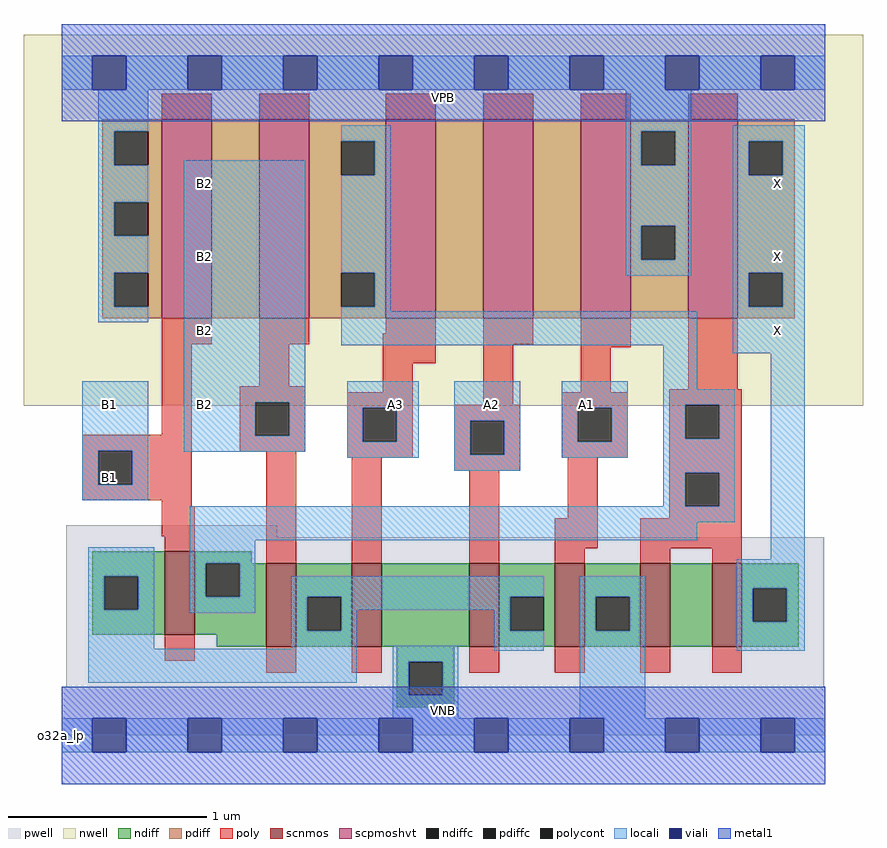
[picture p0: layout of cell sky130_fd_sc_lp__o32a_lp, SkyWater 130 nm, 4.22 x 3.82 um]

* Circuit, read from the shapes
.subckt sky130_fd_sc_lp__o32a_lp A1 A2 A3 B1 B2 VGND VNB VPB VPWR X
XM1 n1 B1 n2 VNB sky130_fd_pr__nfet_01v8 w=0.42 l=0.15
XM2 n2 B2 n1 VNB sky130_fd_pr__nfet_01v8 w=0.42 l=0.15
XM3 VGND A3 n2 VNB sky130_fd_pr__nfet_01v8 w=0.42 l=0.15
XM4 n2 A2 VGND VNB sky130_fd_pr__nfet_01v8 w=0.42 l=0.15
XM5 VGND A1 n2 VNB sky130_fd_pr__nfet_01v8 w=0.42 l=0.15
XM6 n3 n1 VGND VNB sky130_fd_pr__nfet_01v8 w=0.42 l=0.15
XM7 X n1 n3 VNB sky130_fd_pr__nfet_01v8 w=0.42 l=0.15
XM8 n4 B1 VPWR VPB sky130_fd_pr__pfet_01v8_hvt w=1 l=0.25
XM9 n1 B2 n4 VPB sky130_fd_pr__pfet_01v8_hvt w=1 l=0.25
XM10 n5 A3 n1 VPB sky130_fd_pr__pfet_01v8_hvt w=1 l=0.25
XM11 n6 A2 n5 VPB sky130_fd_pr__pfet_01v8_hvt w=1 l=0.25
XM12 VPWR A1 n6 VPB sky130_fd_pr__pfet_01v8_hvt w=1 l=0.25
XM13 X n1 VPWR VPB sky130_fd_pr__pfet_01v8_hvt w=1 l=0.25
.ends

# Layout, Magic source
magic
tech sky130A
magscale 1 2
<< nwell >>
rect -38 331 806 704
<< pwell >>
rect 5 199 217 211
rect 5 49 767 199
rect 0 0 768 49
<< scnmos >>
rect 104 101 134 185
rect 206 89 236 173
rect 292 89 322 173
rect 410 89 440 173
rect 496 89 526 173
rect 582 89 612 173
rect 654 89 684 173
<< scpmoshvt >>
rect 101 419 151 619
rect 199 419 249 619
rect 326 419 376 619
rect 424 419 474 619
rect 522 419 572 619
rect 630 419 680 619
<< ndiff >>
rect 31 160 104 185
rect 31 126 43 160
rect 77 126 104 160
rect 31 101 104 126
rect 134 173 191 185
rect 134 139 145 173
rect 179 139 206 173
rect 134 101 206 139
rect 156 89 206 101
rect 236 139 292 173
rect 236 105 247 139
rect 281 105 292 139
rect 236 89 292 105
rect 322 89 410 173
rect 440 139 496 173
rect 440 105 451 139
rect 485 105 496 139
rect 440 89 496 105
rect 526 139 582 173
rect 526 105 537 139
rect 571 105 582 139
rect 526 89 582 105
rect 612 89 654 173
rect 684 148 741 173
rect 684 114 695 148
rect 729 114 741 148
rect 684 89 741 114
rect 337 74 395 89
rect 337 40 349 74
rect 383 40 395 74
rect 337 28 395 40
<< pdiff >>
rect 41 607 101 619
rect 41 573 53 607
rect 87 573 101 607
rect 41 536 101 573
rect 41 502 53 536
rect 87 502 101 536
rect 41 465 101 502
rect 41 431 53 465
rect 87 431 101 465
rect 41 419 101 431
rect 151 419 199 619
rect 249 597 326 619
rect 249 563 281 597
rect 315 563 326 597
rect 249 465 326 563
rect 249 431 281 465
rect 315 431 326 465
rect 249 419 326 431
rect 376 419 424 619
rect 474 419 522 619
rect 572 607 630 619
rect 572 573 583 607
rect 617 573 630 607
rect 572 512 630 573
rect 572 478 583 512
rect 617 478 630 512
rect 572 419 630 478
rect 680 597 737 619
rect 680 563 691 597
rect 725 563 737 597
rect 680 465 737 563
rect 680 431 691 465
rect 725 431 737 465
rect 680 419 737 431
<< ndiffc >>
rect 43 126 77 160
rect 145 139 179 173
rect 247 105 281 139
rect 451 105 485 139
rect 537 105 571 139
rect 695 114 729 148
rect 349 40 383 74
<< pdiffc >>
rect 53 573 87 607
rect 53 502 87 536
rect 53 431 87 465
rect 281 563 315 597
rect 281 431 315 465
rect 583 573 617 607
rect 583 478 617 512
rect 691 563 725 597
rect 691 431 725 465
<< poly >>
rect 101 619 151 645
rect 199 619 249 645
rect 326 619 376 645
rect 424 619 474 645
rect 522 619 572 645
rect 630 619 680 645
rect 101 393 151 419
rect 199 393 249 419
rect 326 404 376 419
rect 101 302 131 393
rect 199 351 229 393
rect 323 374 376 404
rect 424 393 474 419
rect 21 286 131 302
rect 21 252 37 286
rect 71 252 131 286
rect 179 335 245 351
rect 323 345 353 374
rect 179 301 195 335
rect 229 301 245 335
rect 179 285 245 301
rect 287 329 353 345
rect 424 332 454 393
rect 522 390 572 419
rect 522 345 552 390
rect 630 348 680 419
rect 287 295 303 329
rect 337 295 353 329
rect 21 236 131 252
rect 101 230 131 236
rect 101 200 134 230
rect 104 185 134 200
rect 206 173 236 285
rect 287 279 353 295
rect 395 316 461 332
rect 395 282 411 316
rect 445 282 461 316
rect 292 173 322 279
rect 395 266 461 282
rect 503 329 569 345
rect 503 295 519 329
rect 553 295 569 329
rect 503 279 569 295
rect 611 332 684 348
rect 611 298 627 332
rect 661 298 684 332
rect 410 173 440 266
rect 509 218 539 279
rect 611 264 684 298
rect 611 230 627 264
rect 661 230 684 264
rect 611 218 684 230
rect 496 188 539 218
rect 582 188 684 218
rect 496 173 526 188
rect 582 173 612 188
rect 654 173 684 188
rect 104 75 134 101
rect 206 63 236 89
rect 292 63 322 89
rect 410 63 440 89
rect 496 63 526 89
rect 582 63 612 89
rect 654 63 684 89
<< polycont >>
rect 37 252 71 286
rect 195 301 229 335
rect 303 295 337 329
rect 411 282 445 316
rect 519 295 553 329
rect 627 298 661 332
rect 627 230 661 264
<< locali >>
rect 0 649 31 683
rect 65 649 127 683
rect 161 649 223 683
rect 257 649 319 683
rect 353 649 415 683
rect 449 649 511 683
rect 545 649 607 683
rect 641 649 703 683
rect 737 649 768 683
rect 37 607 87 649
rect 37 573 53 607
rect 281 597 331 613
rect 37 536 87 573
rect 37 502 53 536
rect 37 465 87 502
rect 37 431 53 465
rect 37 415 87 431
rect 21 286 87 356
rect 21 252 37 286
rect 71 252 87 286
rect 123 335 245 578
rect 315 563 331 597
rect 281 465 331 563
rect 315 431 331 465
rect 567 607 633 649
rect 567 573 583 607
rect 617 573 633 607
rect 567 512 633 573
rect 567 478 583 512
rect 617 478 633 512
rect 567 462 633 478
rect 675 597 747 613
rect 675 563 691 597
rect 725 563 747 597
rect 675 465 747 563
rect 281 426 331 431
rect 675 431 691 465
rect 725 431 747 465
rect 281 392 639 426
rect 123 301 195 335
rect 229 301 245 335
rect 123 285 245 301
rect 287 329 359 356
rect 287 295 303 329
rect 337 295 359 329
rect 287 279 359 295
rect 395 316 461 356
rect 395 282 411 316
rect 445 282 461 316
rect 395 266 461 282
rect 503 329 569 356
rect 503 295 519 329
rect 553 295 569 329
rect 503 279 569 295
rect 605 348 639 392
rect 675 384 747 431
rect 605 332 677 348
rect 605 298 627 332
rect 661 298 677 332
rect 21 236 87 252
rect 605 264 677 298
rect 605 230 627 264
rect 661 230 677 264
rect 129 214 677 230
rect 129 196 639 214
rect 27 160 93 189
rect 27 126 43 160
rect 77 126 93 160
rect 27 87 93 126
rect 129 173 195 196
rect 713 177 747 384
rect 129 139 145 173
rect 179 139 195 173
rect 129 123 195 139
rect 231 139 485 160
rect 231 105 247 139
rect 281 126 451 139
rect 281 105 297 126
rect 231 87 297 105
rect 435 105 451 126
rect 27 53 297 87
rect 333 74 399 90
rect 435 85 485 105
rect 521 139 587 160
rect 521 105 537 139
rect 571 105 587 139
rect 333 40 349 74
rect 383 40 399 74
rect 333 17 399 40
rect 521 17 587 105
rect 679 148 747 177
rect 679 114 695 148
rect 729 114 747 148
rect 679 85 747 114
rect 0 -17 31 17
rect 65 -17 127 17
rect 161 -17 223 17
rect 257 -17 319 17
rect 353 -17 415 17
rect 449 -17 511 17
rect 545 -17 607 17
rect 641 -17 703 17
rect 737 -17 768 17
<< viali >>
rect 31 649 65 683
rect 127 649 161 683
rect 223 649 257 683
rect 319 649 353 683
rect 415 649 449 683
rect 511 649 545 683
rect 607 649 641 683
rect 703 649 737 683
rect 31 -17 65 17
rect 127 -17 161 17
rect 223 -17 257 17
rect 319 -17 353 17
rect 415 -17 449 17
rect 511 -17 545 17
rect 607 -17 641 17
rect 703 -17 737 17
<< metal1 >>
rect 0 683 768 715
rect 0 649 31 683
rect 65 649 127 683
rect 161 649 223 683
rect 257 649 319 683
rect 353 649 415 683
rect 449 649 511 683
rect 545 649 607 683
rect 641 649 703 683
rect 737 649 768 683
rect 0 617 768 649
rect 0 17 768 49
rect 0 -17 31 17
rect 65 -17 127 17
rect 161 -17 223 17
rect 257 -17 319 17
rect 353 -17 415 17
rect 449 -17 511 17
rect 545 -17 607 17
rect 641 -17 703 17
rect 737 -17 768 17
rect 0 -49 768 -17
<< labels >>
flabel pwell s 0 0 768 49 0 FreeSans 200 0 0 0 VNB
port 7 nsew ground bidirectional
flabel nwell s 0 617 768 666 0 FreeSans 200 0 0 0 VPB
port 8 nsew power bidirectional
rlabel comment s 0 0 0 0 4 o32a_lp
flabel metal1 s 0 617 768 666 0 FreeSans 340 0 0 0 VPWR
port 9 nsew power bidirectional
flabel metal1 s 0 0 768 49 0 FreeSans 340 0 0 0 VGND
port 6 nsew ground bidirectional
flabel locali s 127 316 161 350 0 FreeSans 340 0 0 0 B2
port 5 nsew signal input
flabel locali s 127 390 161 424 0 FreeSans 340 0 0 0 B2
port 5 nsew signal input
flabel locali s 127 464 161 498 0 FreeSans 340 0 0 0 B2
port 5 nsew signal input
flabel locali s 127 538 161 572 0 FreeSans 340 0 0 0 B2
port 5 nsew signal input
flabel locali s 31 242 65 276 0 FreeSans 340 0 0 0 B1
port 4 nsew signal input
flabel locali s 31 316 65 350 0 FreeSans 340 0 0 0 B1
port 4 nsew signal input
flabel locali s 319 316 353 350 0 FreeSans 340 0 0 0 A3
port 3 nsew signal input
flabel locali s 415 316 449 350 0 FreeSans 340 0 0 0 A2
port 2 nsew signal input
flabel locali s 511 316 545 350 0 FreeSans 340 0 0 0 A1
port 1 nsew signal input
flabel locali s 703 390 737 424 0 FreeSans 340 0 0 0 X
port 10 nsew signal output
flabel locali s 703 464 737 498 0 FreeSans 340 0 0 0 X
port 10 nsew signal output
flabel locali s 703 538 737 572 0 FreeSans 340 0 0 0 X
port 10 nsew signal output
<< properties >>
string LEFsite unit
string LEFclass CORE
string FIXED_BBOX 0 0 768 666
string GDS_FILE $PDKPATH/libs.ref/sky130_fd_sc_lp/gds/sky130_fd_sc_lp.gds
string LEFsymmetry X Y R90
string GDS_END 1765314
string GDS_START 1757820
<< end >>
